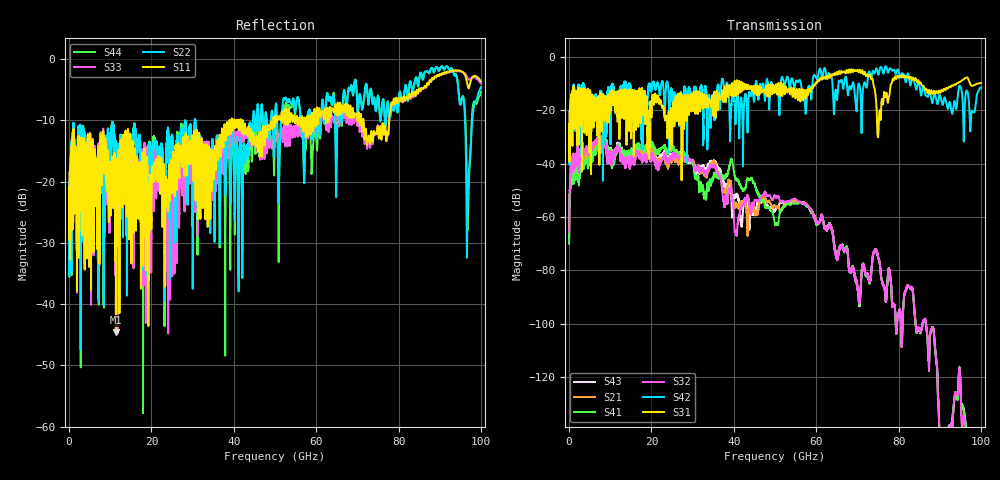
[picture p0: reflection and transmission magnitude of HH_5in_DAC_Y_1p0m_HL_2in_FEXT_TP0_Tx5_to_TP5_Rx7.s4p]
# GHz S RI R 45
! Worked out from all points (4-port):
!   4000 points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, 25 MHz to 100 GHz, reference 45 ohm
!   strongest paths, dB at 25 MHz, 25.02 GHz, 50.02 GHz, 75.03 GHz, 100 GHz:
!     S31: -39.1, -31.2, -12.8, -30.1, -9.8
!     S42: -38.8, -15.0, -12.9, -6.4, -11.5
!     S32: -65.5, -37.5, -51.9, -74.7, -182.1
!     S41: -70.1, -34.0, -62.6, -74.6, -182.9
!     S21: -67.7, -37.9, -55.8, -74.6, -180.4
!     S43: -67.5, -36.8, -57.3, -74.6, -183.9
!   lowest |S11| = -44.6 dB at 11.38 GHz (marker M1), VSWR 1.01, Z = 44.9 + j0.513 ohm
!   |S11| at or under -10 dB: start of sweep to 38.97 GHz; 42.23 GHz to 49.53 GHz (7.299 GHz wide, 15.9 % of centre); 71.52 GHz to 77.73 GHz (6.208 GHz wide, 8.32 % of centre)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
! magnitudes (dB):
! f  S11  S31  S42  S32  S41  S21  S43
! 25 MHz  -23.4  -39.1  -38.8  -65.5  -70.1  -67.7  -67.5
! 3.025 GHz  -17.0  -14.7  -20.0  -36.3  -40.8  -38.5  -39.1
! 11.38 GHz  -44.6  -18.8  -19.7  -35.0  -35.9  -34.8  -34.8
! 40.55 GHz  -10.1  -13.6  -19.4  -65.5  -46.0  -55.3  -52.4
! 91.7 GHz  -2.2  -11.6  -18.0  -156.9  -158.0  -156.6  -158.4
! 96.88 GHz  -4.5  -8.1  -14.0  -168.1  -160.0  -162.9  -163.5
! 100 GHz  -3.6  -9.8  -11.5  -182.1  -182.9  -180.4  -183.9
